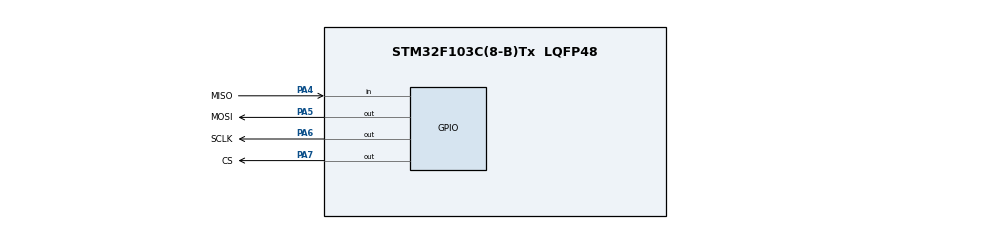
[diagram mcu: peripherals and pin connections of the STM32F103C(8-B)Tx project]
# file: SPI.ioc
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Mcu.Family=STM32F1
Mcu.Name=STM32F103C(8-B)Tx
Mcu.Package=LQFP48
NVIC.PriorityGroup=NVIC_PRIORITYGROUP_4
PA13.Mode=Serial_Wire
PA13.Signal=SYS_JTMS-SWDIO
PA14.Mode=Serial_Wire
PA14.Signal=SYS_JTCK-SWCLK
PA4.GPIO_Label=MISO
PA4.GPIO_PuPd=GPIO_PULLUP
PA4.Signal=GPIO_Input
PA5.GPIO_Label=MOSI
PA5.Signal=GPIO_Output
PA6.GPIO_Label=SCLK
PA6.Signal=GPIO_Output
PA7.GPIO_Label=CS
PA7.Signal=GPIO_Output
ProjectManager.HeapSize=0x200
ProjectManager.StackSize=0x400
ProjectManager.TargetToolchain=MDK-ARM V5.32
RCC.APB1Freq_Value=8000000
RCC.APB2Freq_Value=8000000
board=custom

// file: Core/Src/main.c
/* USER CODE BEGIN Header */
/**
  ******************************************************************************
  * @file           : main.c
  * @brief          : Main program body
  ******************************************************************************
  * @attention
  *
  * Copyright (c) 2023 STMicroelectronics.
  * All rights reserved.
  *
  * This software is licensed under terms that can be found in the LICENSE file
  * in the root directory of this software component.
  * If no LICENSE file comes with this software, it is provided AS-IS.
  *
  ******************************************************************************
  */
/* USER CODE END Header */
#include "main.h"

/* USER CODE BEGIN PD */
#define MOSI_DATA_0 		HAL_GPIO_WritePin(GPIOA, MOSI_Pin, GPIO_PIN_RESET)
#define MOSI_DATA_1 		HAL_GPIO_WritePin(GPIOA, MOSI_Pin, GPIO_PIN_SET)
#define SCLK_LOW				HAL_GPIO_WritePin(GPIOA, SCLK_Pin, GPIO_PIN_RESET)
#define SCLK_HIGH				HAL_GPIO_WritePin(GPIOA, SCLK_Pin, GPIO_PIN_SET)
#define CS_PIN_LOW			HAL_GPIO_WritePin(GPIOA, CS_Pin, GPIO_PIN_RESET)
#define CS_PIN_HIGH			HAL_GPIO_WritePin(GPIOA, CS_Pin, GPIO_PIN_SET)
#define READ_MISO_DATA	HAL_GPIO_ReadPin(GPIOA, MISO_Pin)
/* USER CODE END PD */

void SystemClock_Config(void);
static void MX_GPIO_Init(void);
void spiSoftInit();	// Initialize SPI
void clockSignal();	// Initialize clock signal
void spiSoftMasterTransmit(uint8_t data);	// Transmit data to slave

int main(void)
{
  /* USER CODE BEGIN 1 */
	char data_send[] = "HELLO_WORLD";
  /* USER CODE END 1 */

  /* MCU Configuration--------------------------------------------------------*/

  /* Reset of all peripherals, Initializes the Flash interface and the Systick. */
  HAL_Init();

  /* USER CODE BEGIN Init */
	spiSoftInit();
  /* USER CODE END Init */

  /* Configure the system clock */
  SystemClock_Config();

  /* Initialize all configured peripherals */
  MX_GPIO_Init();

  /* Infinite loop */
  while (1)
  {
			for (char i = 0; i <= 10 ; ++i)
			{

				spiSoftMasterTransmit(data_send[i]);
				//dataFromSlave = (int)spiSoftMasterReceive();
				HAL_Delay(2000);

			}
  }
}

void SystemClock_Config(void)
{
  RCC_OscInitTypeDef RCC_OscInitStruct = {0};
  RCC_ClkInitTypeDef RCC_ClkInitStruct = {0};

  /** Initializes the RCC Oscillators according to the specified parameters
  * in the RCC_OscInitTypeDef structure.
  */
  RCC_OscInitStruct.OscillatorType = RCC_OSCILLATORTYPE_HSI;
  RCC_OscInitStruct.HSIState = RCC_HSI_ON;
  RCC_OscInitStruct.HSICalibrationValue = RCC_HSICALIBRATION_DEFAULT;
  RCC_OscInitStruct.PLL.PLLState = RCC_PLL_NONE;
  if (HAL_RCC_OscConfig(&RCC_OscInitStruct) != HAL_OK)
  {
    Error_Handler();
  }

  /** Initializes the CPU, AHB and APB buses clocks
  */
  RCC_ClkInitStruct.ClockType = RCC_CLOCKTYPE_HCLK|RCC_CLOCKTYPE_SYSCLK
                              |RCC_CLOCKTYPE_PCLK1|RCC_CLOCKTYPE_PCLK2;
  RCC_ClkInitStruct.SYSCLKSource = RCC_SYSCLKSOURCE_HSI;
  RCC_ClkInitStruct.AHBCLKDivider = RCC_SYSCLK_DIV1;
  RCC_ClkInitStruct.APB1CLKDivider = RCC_HCLK_DIV1;
  RCC_ClkInitStruct.APB2CLKDivider = RCC_HCLK_DIV1;

  if (HAL_RCC_ClockConfig(&RCC_ClkInitStruct, FLASH_LATENCY_0) != HAL_OK)
  {
    Error_Handler();
  }
}

static void MX_GPIO_Init(void)
{
  GPIO_InitTypeDef GPIO_InitStruct = {0};

  /* GPIO Ports Clock Enable */
  __HAL_RCC_GPIOA_CLK_ENABLE();

  /*Configure GPIO pin Output Level */
  HAL_GPIO_WritePin(GPIOA, MOSI_Pin|SCLK_Pin|CS_Pin, GPIO_PIN_RESET);

  /*Configure GPIO pin : MISO_Pin */
  GPIO_InitStruct.Pin = MISO_Pin;
  GPIO_InitStruct.Mode = GPIO_MODE_INPUT;
  GPIO_InitStruct.Pull = GPIO_PULLUP;
  HAL_GPIO_Init(MISO_GPIO_Port, &GPIO_InitStruct);

  /*Configure GPIO pins : MOSI_Pin SCLK_Pin CS_Pin */
  GPIO_InitStruct.Pin = MOSI_Pin|SCLK_Pin|CS_Pin;
  GPIO_InitStruct.Mode = GPIO_MODE_OUTPUT_PP;
  GPIO_InitStruct.Pull = GPIO_NOPULL;
  GPIO_InitStruct.Speed = GPIO_SPEED_FREQ_LOW;
  HAL_GPIO_Init(GPIOA, &GPIO_InitStruct);

}

/* USER CODE BEGIN 4 */
void spiSoftInit()
{
	HAL_GPIO_WritePin(GPIOA, MOSI_Pin, GPIO_PIN_RESET);	// set mosi pin low
	HAL_GPIO_WritePin(GPIOA, SCLK_Pin, GPIO_PIN_RESET);	// set sclk pin low
	HAL_GPIO_WritePin(GPIOA, CS_Pin, GPIO_PIN_SET);			// set cs pin high
}

void clockSignal()
{
	SCLK_HIGH;	// set sclk pin high
	__ASM volatile ("nop"::);	// do nothing operation
	HAL_Delay(100);
	SCLK_LOW;		// set sclk pin low
	__ASM volatile ("nop"::);	// do nothing operation
}

void spiSoftMasterTransmit(uint8_t data)
{
	uint8_t i = 0, x = 0;
	CS_PIN_LOW;
	for (i = 0; i < 8; ++i)
	{
		x = data & 0x80;
		if ( x > 0)
		{
			MOSI_DATA_1;
		}
		else
		{
			MOSI_DATA_0;
		}
		clockSignal();
		data = data << 1 ;
	}
	CS_PIN_HIGH;
}

uint8_t spiSoftMasterReceive()
{
	uint8_t data = 0x00, i = 0;
	CS_PIN_LOW;
	for (i = 0; i < 8; ++i)
	{
		clockSignal();
		HAL_Delay(10);
		data = data << 1;
		data = data | READ_MISO_DATA;

	}
	CS_PIN_HIGH;
	return data;
}
/* USER CODE END 4 */

void Error_Handler(void)
{
  __disable_irq();
  while (1)
  {
  }
}
